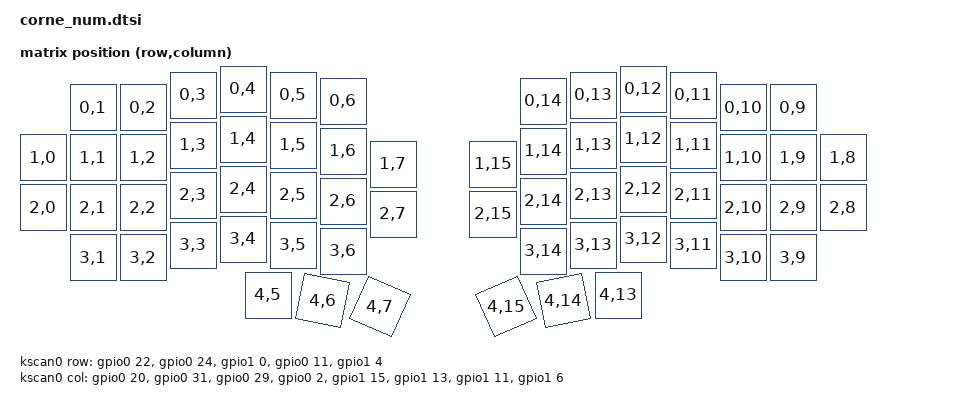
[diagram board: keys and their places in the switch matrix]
#include <dt-bindings/zmk/matrix_transform.h>
#include <physical_layouts.dtsi>

/ {
    chosen {
        zmk,kscan = &kscan0;
        zmk,physical-layout = &default_layout;
    };

    /* 5 rows x 8 columns per half; the right half's columns are offset by 8.
       Pins (same on the rev 2 and rev 3 PCBs, both halves):
       rows R0..R4 = P0.22 P0.24 P1.00 P0.11 P1.04
       cols C0..C7 = P0.20 P0.31 P0.29 P0.02 P1.15 P1.13 P1.11 P1.06  (diodes COL2ROW) */
    default_transform: keymap_transform_0 {
        compatible = "zmk,matrix-transform";
        columns = <16>;
        rows = <5>;
        map = <
RC(0,1)   RC(0,2)   RC(0,3)   RC(0,4)   RC(0,5)   RC(0,6)   RC(0,14)  RC(0,13)  RC(0,12)  RC(0,11)  RC(0,10)  RC(0,9)
RC(1,0)   RC(1,1)   RC(1,2)   RC(1,3)   RC(1,4)   RC(1,5)   RC(1,6)   RC(1,7)   RC(1,15)  RC(1,14)  RC(1,13)  RC(1,12)  RC(1,11)  RC(1,10)  RC(1,9)   RC(1,8)
RC(2,0)   RC(2,1)   RC(2,2)   RC(2,3)   RC(2,4)   RC(2,5)   RC(2,6)   RC(2,7)   RC(2,15)  RC(2,14)  RC(2,13)  RC(2,12)  RC(2,11)  RC(2,10)  RC(2,9)   RC(2,8)
RC(3,1)   RC(3,2)   RC(3,3)   RC(3,4)   RC(3,5)   RC(3,6)   RC(3,14)  RC(3,13)  RC(3,12)  RC(3,11)  RC(3,10)  RC(3,9)
RC(4,5)   RC(4,6)   RC(4,7)   RC(4,15)  RC(4,14)  RC(4,13)
        >;
    };

    kscan0: kscan_0 {
        compatible = "zmk,kscan-gpio-matrix";
        diode-direction = "col2row";
        wakeup-source;
        row-gpios
            = <&gpio0 22 (GPIO_ACTIVE_HIGH | GPIO_PULL_DOWN)>
            , <&gpio0 24 (GPIO_ACTIVE_HIGH | GPIO_PULL_DOWN)>
            , <&gpio1 0  (GPIO_ACTIVE_HIGH | GPIO_PULL_DOWN)>
            , <&gpio0 11 (GPIO_ACTIVE_HIGH | GPIO_PULL_DOWN)>
            , <&gpio1 4  (GPIO_ACTIVE_HIGH | GPIO_PULL_DOWN)>
            ;
        col-gpios
            = <&gpio0 20 GPIO_ACTIVE_HIGH>
            , <&gpio0 31 GPIO_ACTIVE_HIGH>
            , <&gpio0 29 GPIO_ACTIVE_HIGH>
            , <&gpio0 2  GPIO_ACTIVE_HIGH>
            , <&gpio1 15 GPIO_ACTIVE_HIGH>
            , <&gpio1 13 GPIO_ACTIVE_HIGH>
            , <&gpio1 11 GPIO_ACTIVE_HIGH>
            , <&gpio1 6  GPIO_ACTIVE_HIGH>
            ;
    };

    default_layout: default_layout {
        compatible = "zmk,physical-layout";
        display-name = "Corne Num";
        transform = <&default_transform>;
        kscan = <&kscan0>;
        keys  //                     w   h     x     y    rot    rx    ry
            = <&key_physical_attrs 100 100   100    37      0     0     0>
            , <&key_physical_attrs 100 100   200    37      0     0     0>
            , <&key_physical_attrs 100 100   300    12      0     0     0>
            , <&key_physical_attrs 100 100   400     0      0     0     0>
            , <&key_physical_attrs 100 100   500    12      0     0     0>
            , <&key_physical_attrs 100 100   600    24      0     0     0>
            , <&key_physical_attrs 100 100  1000    24      0     0     0>
            , <&key_physical_attrs 100 100  1100    12      0     0     0>
            , <&key_physical_attrs 100 100  1200     0      0     0     0>
            , <&key_physical_attrs 100 100  1300    12      0     0     0>
            , <&key_physical_attrs 100 100  1400    37      0     0     0>
            , <&key_physical_attrs 100 100  1500    37      0     0     0>
            , <&key_physical_attrs 100 100     0   137      0     0     0>
            , <&key_physical_attrs 100 100   100   137      0     0     0>
            , <&key_physical_attrs 100 100   200   137      0     0     0>
            , <&key_physical_attrs 100 100   300   112      0     0     0>
            , <&key_physical_attrs 100 100   400   100      0     0     0>
            , <&key_physical_attrs 100 100   500   112      0     0     0>
            , <&key_physical_attrs 100 100   600   124      0     0     0>
            , <&key_physical_attrs 100 100   700   150      0     0     0>
            , <&key_physical_attrs 100 100   900   150      0     0     0>
            , <&key_physical_attrs 100 100  1000   124      0     0     0>
            , <&key_physical_attrs 100 100  1100   112      0     0     0>
            , <&key_physical_attrs 100 100  1200   100      0     0     0>
            , <&key_physical_attrs 100 100  1300   112      0     0     0>
            , <&key_physical_attrs 100 100  1400   137      0     0     0>
            , <&key_physical_attrs 100 100  1500   137      0     0     0>
            , <&key_physical_attrs 100 100  1600   137      0     0     0>
            , <&key_physical_attrs 100 100     0   237      0     0     0>
            , <&key_physical_attrs 100 100   100   237      0     0     0>
            , <&key_physical_attrs 100 100   200   237      0     0     0>
            , <&key_physical_attrs 100 100   300   212      0     0     0>
            , <&key_physical_attrs 100 100   400   200      0     0     0>
            , <&key_physical_attrs 100 100   500   212      0     0     0>
            , <&key_physical_attrs 100 100   600   224      0     0     0>
            , <&key_physical_attrs 100 100   700   250      0     0     0>
            , <&key_physical_attrs 100 100   900   250      0     0     0>
            , <&key_physical_attrs 100 100  1000   224      0     0     0>
            , <&key_physical_attrs 100 100  1100   212      0     0     0>
            , <&key_physical_attrs 100 100  1200   200      0     0     0>
            , <&key_physical_attrs 100 100  1300   212      0     0     0>
            , <&key_physical_attrs 100 100  1400   237      0     0     0>
            , <&key_physical_attrs 100 100  1500   237      0     0     0>
            , <&key_physical_attrs 100 100  1600   237      0     0     0>
            , <&key_physical_attrs 100 100   100   337      0     0     0>
            , <&key_physical_attrs 100 100   200   337      0     0     0>
            , <&key_physical_attrs 100 100   300   312      0     0     0>
            , <&key_physical_attrs 100 100   400   300      0     0     0>
            , <&key_physical_attrs 100 100   500   312      0     0     0>
            , <&key_physical_attrs 100 100   600   324      0     0     0>
            , <&key_physical_attrs 100 100  1000   324      0     0     0>
            , <&key_physical_attrs 100 100  1100   312      0     0     0>
            , <&key_physical_attrs 100 100  1200   300      0     0     0>
            , <&key_physical_attrs 100 100  1300   312      0     0     0>
            , <&key_physical_attrs 100 100  1400   337      0     0     0>
            , <&key_physical_attrs 100 100  1500   337      0     0     0>
            , <&key_physical_attrs 100 100   450   412      0     0     0>
            , <&key_physical_attrs 100 100   559   423   1200   609   473>
            , <&key_physical_attrs 100 100   674   435   2400   724   485>
            , <&key_physical_attrs 100 100   926   435  (-2400)   976   485>
            , <&key_physical_attrs 100 100  1041   423  (-1200)  1091   473>
            , <&key_physical_attrs 100 100  1150   412      0     0     0>
            ;
    };
};
